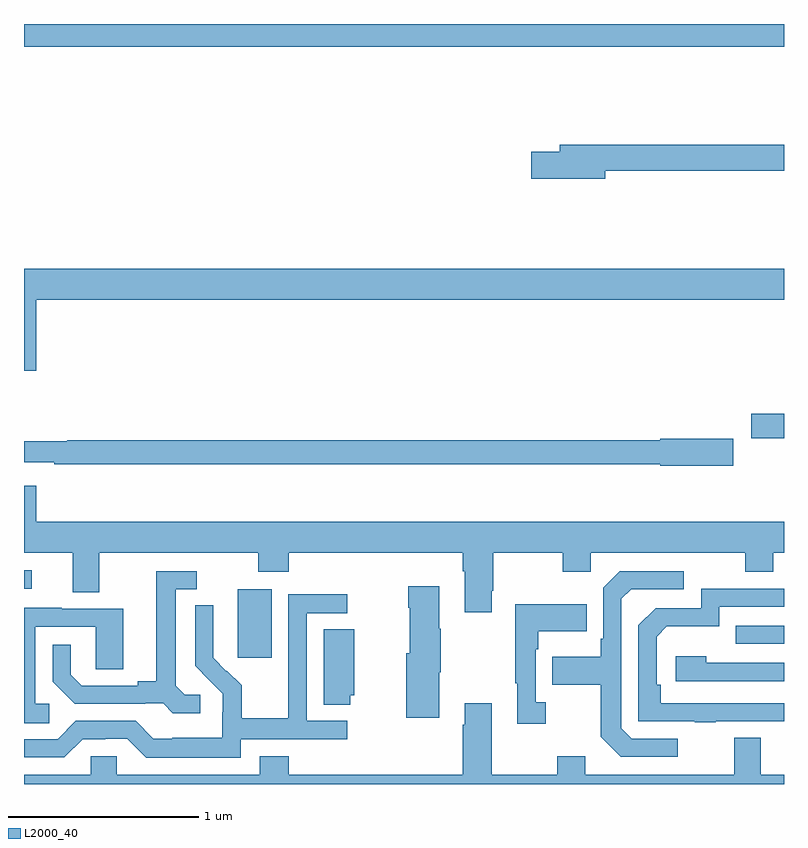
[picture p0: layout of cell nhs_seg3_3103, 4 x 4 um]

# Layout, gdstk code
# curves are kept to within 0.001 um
import gdstk
lib = gdstk.Library(unit=1e-6, precision=1e-09)
def R(c, l, rs):  # rectangles x0, y0, x1, y1
    for r in rs: c.add(gdstk.rectangle(r[:2], r[2:], *l))
def P(c, l, *ps):  # polygons
    for p in ps: c.add(gdstk.Polygon(p, *l))
L2000_40 = (2000, 40)

nhs_seg3_3103 = lib.new_cell('nhs_seg3_3103')
R(nhs_seg3_3103, L2000_40, [(274.124,667.065,274.303,667.426), (276.745,667.137,277,667.233), (273,667.428,273.04,667.524), (276.828,668.221,277,668.35), (273,670.28,277,670.4)])
P(nhs_seg3_3103, L2000_40, [(276.058,669.628),(277,669.628),(277,669.764),(275.819,669.764),(275.819,669.728),(275.67,669.728),(275.67,669.586),(276.058,669.586)],
  [(273.064,668.948),(277,668.948),(277,669.112),(273,669.112),(273,668.574),(273.064,668.574)],
  [(276.733,668.216),(276.348,668.216),(276.348,668.21),(273.227,668.21),(273.227,668.203),(273,668.203),(273,668.094),(273.16,668.094),(273.16,668.082),(276.348,668.082),(276.348,668.074),(276.733,668.074)],
  [(275.461,667.417),(275.469,667.417),(275.469,667.616),(275.836,667.616),(275.836,667.517),(275.982,667.517),(275.982,667.616),(276.796,667.616),(276.796,667.517),(276.943,667.517),(276.943,667.616),(277,667.616),(277,667.78),(273.064,667.78),(273.064,667.969),(273,667.969),(273,667.616),(273.257,667.616),(273.257,667.408),(273.397,667.408),(273.397,667.616),(274.234,667.616),(274.234,667.517),(274.394,667.517),(274.394,667.616),(275.309,667.616),(275.309,667.52),(275.321,667.52),(275.321,667.305),(275.461,667.305)],
  [(273.928,666.87),(273.846,666.87),(273.799,666.917),(273.799,667.425),(273.91,667.425),(273.91,667.521),(273.695,667.521),(273.695,666.941),(273.599,666.941),(273.599,666.918),(273.304,666.918),(273.247,666.975),(273.247,667.132),(273.15,667.132),(273.15,666.938),(273.266,666.822),(273.638,666.822),(273.638,666.825),(273.732,666.825),(273.784,666.773),(273.928,666.773)],
  [(276.442,666.639),(276.198,666.639),(276.144,666.693),(276.144,667.374),(276.195,667.425),(276.472,667.425),(276.472,667.521),(276.135,667.521),(276.048,667.434),(276.048,667.165),(276.036,667.165),(276.036,667.069),(275.779,667.069),(275.779,666.922),(276.036,666.922),(276.036,666.649),(276.141,666.543),(276.442,666.543)],
  [(275.185,666.989),(275.193,666.989),(275.193,667.217),(275.185,667.217),(275.185,667.441),(275.023,667.441),(275.023,667.328),(275.03,667.328),(275.03,667.089),(275.012,667.089),(275.012,666.749),(275.185,666.749)],
  [(276.641,666.729),(277,666.729),(277,666.825),(276.35,666.825),(276.35,666.922),(276.33,666.922),(276.33,667.176),(276.383,667.229),(276.66,667.229),(276.66,667.332),(277,667.332),(277,667.428),(276.564,667.428),(276.564,667.326),(276.324,667.326),(276.234,667.236),(276.234,666.729),(276.529,666.729),(276.529,666.724),(276.641,666.724)],
  [(274.14,666.636),(274.702,666.636),(274.702,666.732),(274.488,666.732),(274.488,667.299),(274.702,667.299),(274.702,667.398),(274.392,667.398),(274.392,666.968),(274.39,666.968),(274.39,666.745),(274.145,666.745),(274.145,666.919),(274.068,666.996),(274.065,666.993),(273.995,667.064),(273.996,667.34),(273.9,667.34),(273.9,667.022),(274.046,666.874),(274.046,666.777),(274.044,666.777),(274.044,666.643),(273.781,666.643),(273.781,666.639),(273.681,666.639),(273.588,666.732),(273.273,666.732),(273.177,666.636),(273,666.636),(273,666.54),(273.213,666.54),(273.309,666.636),(273.428,666.636),(273.428,666.639),(273.543,666.639),(273.643,666.539),(274.14,666.539)],
  [(275.746,666.83),(275.694,666.83),(275.694,667.109),(275.707,667.109),(275.707,667.205),(275.963,667.205),(275.963,667.345),(275.586,667.345),(275.586,666.929),(275.597,666.929),(275.597,666.717),(275.746,666.717)],
  [(273.133,666.822),(273.06,666.822),(273.06,667.227),(273.378,667.227),(273.378,667.003),(273.523,667.003),(273.523,667.323),(273.199,667.323),(273.199,667.327),(273,667.327),(273,666.721),(273.133,666.721)],
  [(274.716,666.866),(274.738,666.866),(274.738,667.214),(274.577,667.214),(274.577,666.817),(274.716,666.817)],
  [(277,667.038),(276.59,667.038),(276.59,667.072),(276.429,667.072),(276.429,666.942),(277,666.942)],
  [(277,666.448),(276.877,666.448),(276.877,666.643),(276.737,666.643),(276.737,666.448),(275.953,666.448),(275.953,666.547),(275.806,666.547),(275.806,666.448),(275.461,666.448),(275.461,666.826),(275.321,666.826),(275.321,666.713),(275.309,666.713),(275.309,666.448),(274.394,666.448),(274.394,666.547),(274.241,666.547),(274.241,666.448),(273.489,666.448),(273.489,666.546),(273.351,666.546),(273.351,666.448),(273,666.448),(273,666.4),(277,666.4)])

lib.write_gds('nhs_seg3_3103.gds')
